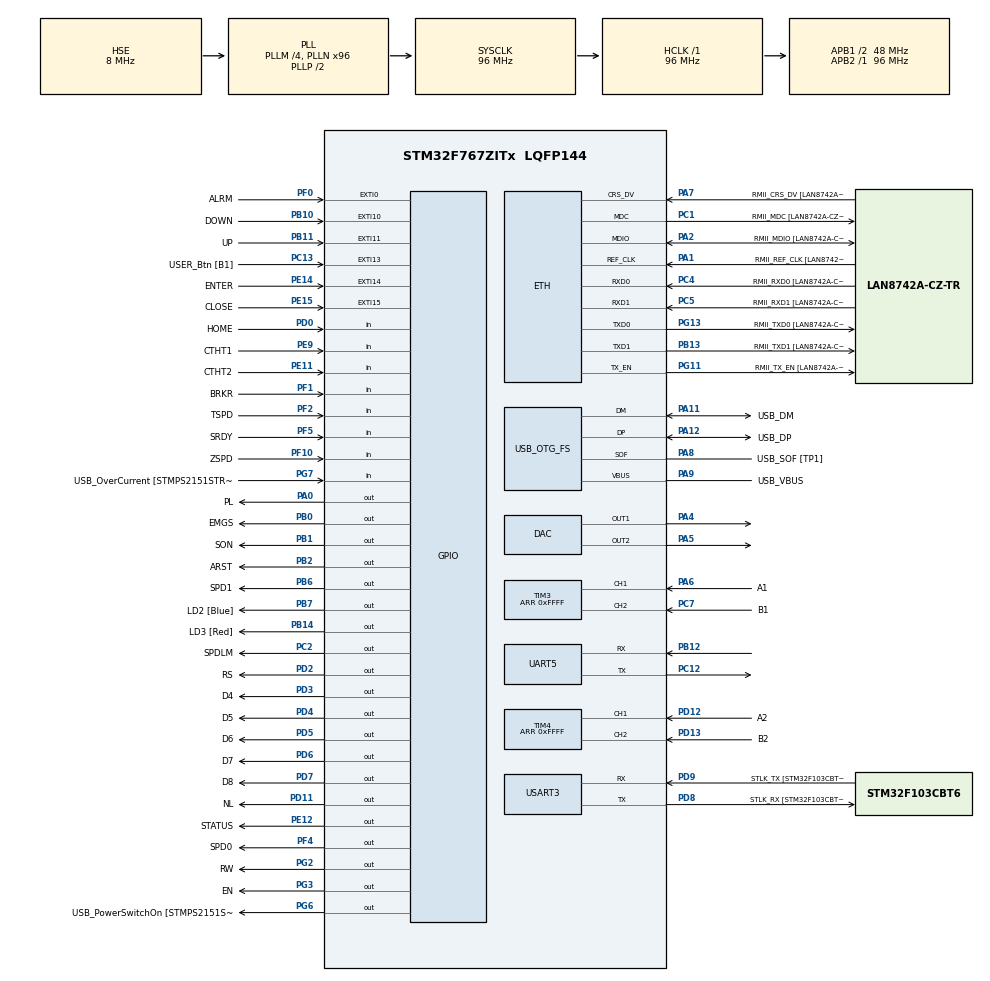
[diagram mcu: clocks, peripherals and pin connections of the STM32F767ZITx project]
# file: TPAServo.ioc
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Dma.Request0=UART5_RX
Dma.Request1=UART5_TX
Dma.UART5_RX.0.Direction=DMA_PERIPH_TO_MEMORY
Dma.UART5_RX.0.FIFOMode=DMA_FIFOMODE_DISABLE
Dma.UART5_RX.0.Instance=DMA1_Stream0
Dma.UART5_RX.0.MemDataAlignment=DMA_MDATAALIGN_BYTE
Dma.UART5_RX.0.MemInc=DMA_MINC_ENABLE
Dma.UART5_RX.0.Mode=DMA_NORMAL
Dma.UART5_RX.0.PeriphDataAlignment=DMA_PDATAALIGN_BYTE
Dma.UART5_RX.0.PeriphInc=DMA_PINC_DISABLE
Dma.UART5_RX.0.Priority=DMA_PRIORITY_HIGH
Dma.UART5_TX.1.Direction=DMA_MEMORY_TO_PERIPH
Dma.UART5_TX.1.FIFOMode=DMA_FIFOMODE_DISABLE
Dma.UART5_TX.1.Instance=DMA1_Stream7
Dma.UART5_TX.1.MemDataAlignment=DMA_MDATAALIGN_BYTE
Dma.UART5_TX.1.MemInc=DMA_MINC_ENABLE
Dma.UART5_TX.1.Mode=DMA_NORMAL
Dma.UART5_TX.1.PeriphDataAlignment=DMA_PDATAALIGN_BYTE
Dma.UART5_TX.1.PeriphInc=DMA_PINC_DISABLE
Dma.UART5_TX.1.Priority=DMA_PRIORITY_HIGH
ETH.MediaInterface=ETH_MEDIA_INTERFACE_RMII
ETH.PHY_Name=LAN8742A_PHY_ADDRESS
ETH.PHY_Value=0
ETH.PhyAddress=0
Mcu.Family=STM32F7
Mcu.Name=STM32F767ZITx
Mcu.Package=LQFP144
NVIC.DMA1_Stream0_IRQn=true\:3\:0\:true\:false\:true\:false\:true
NVIC.DMA1_Stream7_IRQn=true\:3\:0\:true\:false\:true\:false\:true
NVIC.ETH_IRQn=true\:0\:0\:false\:false\:true\:true\:true
NVIC.EXTI0_IRQn=true\:2\:0\:true\:false\:true\:true\:true
NVIC.EXTI15_10_IRQn=true\:2\:0\:true\:false\:true\:true\:true
NVIC.PriorityGroup=NVIC_PRIORITYGROUP_4
NVIC.TIM6_DAC_IRQn=true\:1\:0\:true\:false\:true\:true\:true
NVIC.TIM7_IRQn=true\:4\:0\:true\:false\:true\:true\:true
NVIC.UART5_IRQn=true\:3\:0\:true\:false\:true\:true\:true
PA0/WKUP.GPIO_Label=PL
PA0/WKUP.GPIO_PuPd=GPIO_PULLDOWN
PA0/WKUP.GPIO_Speed=GPIO_SPEED_FREQ_HIGH
PA0/WKUP.Signal=GPIO_Output
PA1.GPIO_Label=RMII_REF_CLK [LAN8742A-CZ-TR_REFCLK0]
PA1.Mode=RMII
PA1.Signal=ETH_REF_CLK
PA10.GPIO_Label=USB_ID
PA10.Signal=USB_OTG_FS_ID
PA11.GPIO_Label=USB_DM
PA11.Mode=Device_Only
PA11.Signal=USB_OTG_FS_DM
PA12.GPIO_Label=USB_DP
PA12.Mode=Device_Only
PA12.Signal=USB_OTG_FS_DP
PA13.GPIO_Label=TMS
PA13.Mode=Serial_Wire
PA13.Signal=SYS_JTMS-SWDIO
PA14.GPIO_Label=TCK
PA14.Mode=Serial_Wire
PA14.Signal=SYS_JTCK-SWCLK
PA2.GPIO_Label=RMII_MDIO [LAN8742A-CZ-TR_MDIO]
PA2.Mode=RMII
PA2.Signal=ETH_MDIO
PA4.Signal=COMP_DAC1_group
PA5.Signal=COMP_DAC2_group
PA6.GPIO_Label=A1
PA6.GPIO_Speed=GPIO_SPEED_FREQ_HIGH
PA6.Signal=S_TIM3_CH1
PA7.GPIO_Label=RMII_CRS_DV [LAN8742A-CZ-TR_CRS_DV]
PA7.Mode=RMII
PA7.Signal=ETH_CRS_DV
PA8.GPIO_Label=USB_SOF [TP1]
PA8.Mode=Activate_SOF_FS
PA8.Signal=USB_OTG_FS_SOF
PA9.GPIO_Label=USB_VBUS
PA9.Mode=Activate_VBUS
PA9.Signal=USB_OTG_FS_VBUS
PB0.GPIO_Label=EMGS
PB0.GPIO_PuPd=GPIO_PULLDOWN
PB0.GPIO_Speed=GPIO_SPEED_FREQ_HIGH
PB0.Signal=GPIO_Output
PB1.GPIO_Label=SON
PB1.GPIO_PuPd=GPIO_PULLDOWN
PB1.GPIO_Speed=GPIO_SPEED_FREQ_HIGH
PB1.Signal=GPIO_Output
PB10.GPIO_Label=DOWN
PB10.GPIO_ModeDefaultEXTI=GPIO_MODE_IT_FALLING
PB10.GPIO_PuPd=GPIO_PULLUP
PB10.Signal=GPXTI10
PB11.GPIO_Label=UP
PB11.GPIO_ModeDefaultEXTI=GPIO_MODE_IT_FALLING
PB11.GPIO_PuPd=GPIO_PULLUP
PB11.Signal=GPXTI11
PB12.Mode=Asynchronous
PB12.Signal=UART5_RX
PB13.GPIO_Label=RMII_TXD1 [LAN8742A-CZ-TR_TXD1]
PB13.Mode=RMII
PB13.Signal=ETH_TXD1
PB14.GPIO_Label=LD3 [Red]
PB14.Signal=GPIO_Output
PB2.GPIO_Label=ARST
PB2.GPIO_PuPd=GPIO_PULLDOWN
PB2.GPIO_Speed=GPIO_SPEED_FREQ_HIGH
PB2.Signal=GPIO_Output
PB3.GPIO_Label=SWO
PB3.Signal=SYS_JTDO-SWO
PB6.GPIO_Label=SPD1
PB6.GPIO_PuPd=GPIO_PULLDOWN
PB6.GPIO_Speed=GPIO_SPEED_FREQ_HIGH
PB6.Signal=GPIO_Output
PB7.GPIO_Label=LD2 [Blue]
PB7.Signal=GPIO_Output
PC1.GPIO_Label=RMII_MDC [LAN8742A-CZ-TR_MDC]
PC1.Mode=RMII
PC1.Signal=ETH_MDC
PC12.Mode=Asynchronous
PC12.Signal=UART5_TX
PC13.GPIO_Label=USER_Btn [B1]
PC13.Signal=GPXTI13
PC14/OSC32_IN.Signal=RCC_OSC32_IN
PC15/OSC32_OUT.Signal=RCC_OSC32_OUT
PC2.GPIO_Label=SPDLM
PC2.GPIO_PuPd=GPIO_PULLDOWN
PC2.GPIO_Speed=GPIO_SPEED_FREQ_HIGH
PC2.Signal=GPIO_Output
PC4.GPIO_Label=RMII_RXD0 [LAN8742A-CZ-TR_RXD0]
PC4.Mode=RMII
PC4.Signal=ETH_RXD0
PC5.GPIO_Label=RMII_RXD1 [LAN8742A-CZ-TR_RXD1]
PC5.Mode=RMII
PC5.Signal=ETH_RXD1
PC7.GPIO_Label=B1
PC7.GPIO_Speed=GPIO_SPEED_FREQ_HIGH
PC7.Signal=S_TIM3_CH2
PD0.GPIO_Label=HOME
PD0.GPIO_PuPd=GPIO_PULLUP
PD0.Signal=GPIO_Input
PD11.GPIO_Label=NL
PD11.GPIO_PuPd=GPIO_PULLDOWN
PD11.GPIO_Speed=GPIO_SPEED_FREQ_HIGH
PD11.Signal=GPIO_Output
PD12.GPIO_Label=A2
PD12.GPIO_PuPd=GPIO_NOPULL
PD12.GPIO_Speed=GPIO_SPEED_FREQ_HIGH
PD12.Signal=S_TIM4_CH1
PD13.GPIO_Label=B2
PD13.GPIO_Speed=GPIO_SPEED_FREQ_HIGH
PD13.Signal=S_TIM4_CH2
PD2.GPIO_Label=RS
PD2.GPIO_PuPd=GPIO_PULLDOWN
PD2.GPIO_Speed=GPIO_SPEED_FREQ_HIGH
PD2.Signal=GPIO_Output
PD3.GPIO_Label=D4
PD3.GPIO_PuPd=GPIO_PULLDOWN
PD3.GPIO_Speed=GPIO_SPEED_FREQ_HIGH
PD3.Signal=GPIO_Output
PD4.GPIO_Label=D5
PD4.GPIO_PuPd=GPIO_PULLDOWN
PD4.GPIO_Speed=GPIO_SPEED_FREQ_HIGH
PD4.Signal=GPIO_Output
PD5.GPIO_Label=D6
PD5.GPIO_PuPd=GPIO_PULLDOWN
PD5.GPIO_Speed=GPIO_SPEED_FREQ_HIGH
PD5.Signal=GPIO_Output
PD6.GPIO_Label=D7
PD6.GPIO_PuPd=GPIO_PULLDOWN
PD6.GPIO_Speed=GPIO_SPEED_FREQ_HIGH
PD6.Signal=GPIO_Output
PD7.GPIO_Label=D8
PD7.GPIO_PuPd=GPIO_PULLDOWN
PD7.GPIO_Speed=GPIO_SPEED_FREQ_HIGH
PD7.Signal=GPIO_Output
PD8.GPIO_Label=STLK_RX [STM32F103CBT6_PA3]
PD8.Mode=Asynchronous
PD8.Signal=USART3_TX
PD9.GPIO_Label=STLK_TX [STM32F103CBT6_PA2]
PD9.Mode=Asynchronous
PD9.Signal=USART3_RX
PE11.GPIO_Label=CTHT2
PE11.GPIO_PuPd=GPIO_PULLUP
PE11.Signal=GPIO_Input
PE12.GPIO_Label=STATUS
PE12.GPIO_PuPd=GPIO_PULLDOWN
PE12.GPIO_Speed=GPIO_SPEED_FREQ_HIGH
PE12.PinState=GPIO_PIN_SET
PE12.Signal=GPIO_Output
PE14.GPIO_Label=ENTER
PE14.GPIO_ModeDefaultEXTI=GPIO_MODE_IT_FALLING
PE14.GPIO_PuPd=GPIO_PULLUP
PE14.Signal=GPXTI14
PE15.GPIO_Label=CLOSE
PE15.GPIO_ModeDefaultEXTI=GPIO_MODE_IT_FALLING
PE15.GPIO_PuPd=GPIO_PULLUP
PE15.Signal=GPXTI15
PE9.GPIO_Label=CTHT1
PE9.GPIO_PuPd=GPIO_PULLUP
PE9.Signal=GPIO_Input
PF0.GPIO_Label=ALRM
PF0.GPIO_ModeDefaultEXTI=GPIO_MODE_IT_FALLING
PF0.GPIO_PuPd=GPIO_PULLUP
PF0.Signal=GPXTI0
PF1.GPIO_Label=BRKR
PF1.GPIO_PuPd=GPIO_PULLUP
PF1.Signal=GPIO_Input
PF10.GPIO_Label=ZSPD
PF10.GPIO_PuPd=GPIO_PULLUP
PF10.Signal=GPIO_Input
PF2.GPIO_Label=TSPD
PF2.GPIO_PuPd=GPIO_PULLUP
PF2.Signal=GPIO_Input
PF4.GPIO_Label=SPD0
PF4.GPIO_PuPd=GPIO_PULLDOWN
PF4.GPIO_Speed=GPIO_SPEED_FREQ_HIGH
PF4.Signal=GPIO_Output
PF5.GPIO_Label=SRDY
PF5.GPIO_PuPd=GPIO_PULLUP
PF5.Signal=GPIO_Input
PG11.GPIO_Label=RMII_TX_EN [LAN8742A-CZ-TR_TXEN]
PG11.Mode=RMII
PG11.Signal=ETH_TX_EN
PG13.GPIO_Label=RMII_TXD0 [LAN8742A-CZ-TR_TXD0]
PG13.Mode=RMII
PG13.Signal=ETH_TXD0
PG2.GPIO_Label=RW
PG2.GPIO_PuPd=GPIO_PULLDOWN
PG2.GPIO_Speed=GPIO_SPEED_FREQ_HIGH
PG2.Signal=GPIO_Output
PG3.GPIO_Label=EN
PG3.GPIO_PuPd=GPIO_PULLDOWN
PG3.GPIO_Speed=GPIO_SPEED_FREQ_HIGH
PG3.Signal=GPIO_Output
PG6.GPIO_Label=USB_PowerSwitchOn [STMPS2151STR_EN]
PG6.Signal=GPIO_Output
PG7.GPIO_Label=USB_OverCurrent [STMPS2151STR_FAULT]
PG7.Signal=GPIO_Input
PH0/OSC_IN.GPIO_Label=MCO [STM32F103CBT6_PA8]
PH0/OSC_IN.Mode=HSE-External-Oscillator
PH0/OSC_IN.Signal=RCC_OSC_IN
PH1/OSC_OUT.Mode=HSE-External-Oscillator
PH1/OSC_OUT.Signal=RCC_OSC_OUT
ProjectManager.HeapSize=0x200
ProjectManager.StackSize=0x400
ProjectManager.TargetToolchain=MDK-ARM V5
RCC.48MHZClocksFreq_Value=24000000
RCC.AHBFreq_Value=96000000
RCC.APB1CLKDivider=RCC_HCLK_DIV2
RCC.APB1Freq_Value=48000000
RCC.APB1TimFreq_Value=96000000
RCC.APB2Freq_Value=96000000
RCC.APB2TimFreq_Value=96000000
RCC.CortexFreq_Value=96000000
RCC.HCLKFreq_Value=96000000
RCC.HSE_VALUE=8000000
RCC.HSI_VALUE=16000000
RCC.LSE_VALUE=32768
RCC.PLLM=4
RCC.PLLMUL=RCC_PLL_MUL9
RCC.PLLN=96
RCC.PLLQ=4
RCC.PRESCALERUSB=RCC_USBCLKSOURCE_PLL_DIV1_5
RCC.SYSCLKFreq_VALUE=96000000
RCC.SYSCLKSource=RCC_SYSCLKSOURCE_PLLCLK
RCC.SYSCLKSourceVirtual=RCC_SYSCLKSOURCE_PLLCLK
RCC.USBFreq_Value=48000000
RCC.VCOOutputFreq_Value=192000000
SH.COMP_DAC1_group.0=DAC_OUT1,DAC_OUT1
SH.COMP_DAC2_group.0=DAC_OUT2,DAC_OUT2
SH.S_TIM3_CH1.0=TIM3_CH1,Encoder_Interface
SH.S_TIM3_CH2.0=TIM3_CH2,Encoder_Interface
SH.S_TIM4_CH1.0=TIM4_CH1,Encoder_Interface
SH.S_TIM4_CH2.0=TIM4_CH2,Encoder_Interface
TIM3.EncoderMode=TIM_ENCODERMODE_TI12
TIM3.Period=0xFFFF
TIM4.EncoderMode=TIM_ENCODERMODE_TI12
TIM4.Period=0xFFFF
TIM6.Period=19
TIM6.Prescaler=47999
TIM7.Period=9999
TIM7.Prescaler=9599
USART3.VirtualMode-Asynchronous=VM_ASYNC
USB_OTG_FS.VirtualMode=Device_Only
VP_TIM6_VS_ClockSourceINT.Mode=Enable_Timer
VP_TIM7_VS_ClockSourceINT.Mode=Enable_Timer
board=NUCLEO-F767ZI

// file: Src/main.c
/* USER CODE BEGIN Header */
/**
  ******************************************************************************
  * @file           : main.c
  * @brief          : Main program body
  ******************************************************************************
  * @attention
  *
  * <h2><center>&copy; Copyright (c) 2020 STMicroelectronics.
  * All rights reserved.</center></h2>
  *
  * This software component is licensed by ST under BSD 3-Clause license,
  * the "License"; You may not use this file except in compliance with the
  * License. You may obtain a copy of the License at:
  *                        opensource.org/licenses/BSD-3-Clause
  *
  ******************************************************************************
  */
/* USER CODE END Header */

#include "main.h"
#include "stdio.h"
#include "lcd_txt.h"

/* USER CODE BEGIN PTD */
typedef struct
{
	uint8_t ready;
	uint8_t brun;
	uint8_t mode;
	char Reset;
}Status;

typedef struct
{
	uint8_t Ts;
	double Kp;
	double Ki;
	double Kd;
}PID_Gain;

typedef struct
{
	double AmMax;
	double AmMin;
	double Period;
	double OffsetTime;
	double bMode;
}pulse;
/* USER CODE END PTD */

/* USER CODE BEGIN PD */
#define RXBUFFERSIZE 60
/* USER CODE END PD */

/* USER CODE BEGIN PM */

double ConvertByte2Double(uint8_t *nbytes)
{
	double *dDouble = (double*)nbytes;
	return *dDouble;
}
int16_t ConverByte2Int16(uint8_t *nbyte)
{
	 int16_t *dInt16 = (int16_t*)nbyte;
	 return *dInt16;
}
int8_t ConverByte2Int8(uint8_t* nbyte)
{
	int8_t *dint8 = (int8_t*)nbyte;
	 return *dint8;
}
/* USER CODE END PM */

DAC_HandleTypeDef hdac;

ETH_HandleTypeDef heth;

TIM_HandleTypeDef htim3;
TIM_HandleTypeDef htim4;
TIM_HandleTypeDef htim6;
TIM_HandleTypeDef htim7;

UART_HandleTypeDef huart5;
UART_HandleTypeDef huart3;
DMA_HandleTypeDef hdma_uart5_rx;
DMA_HandleTypeDef hdma_uart5_tx;

PCD_HandleTypeDef hpcd_USB_OTG_FS;

void SystemClock_Config(void);
static void MX_GPIO_Init(void);
static void MX_DMA_Init(void);
static void MX_DAC_Init(void);
static void MX_ETH_Init(void);
static void MX_TIM3_Init(void);
static void MX_TIM4_Init(void);
static void MX_UART5_Init(void);
static void MX_USART3_UART_Init(void);
static void MX_USB_OTG_FS_PCD_Init(void);
static void MX_TIM6_Init(void);
static void MX_TIM7_Init(void);

/* USER CODE BEGIN 0 */
__IO ITStatus UartReady = RESET;
__IO uint8_t rxUsbBuffer[64]={0};
char txUsbBuffer[64]={0};
char txRs232Buffer[64]={0};
uint8_t len=0 ;
double SetSpeed,SetPosition,Kp1,Ki1,Kd1,Kp2,Ki2,Kd2,Speed,Position,Udk , Udk_P , distance , SetPointcu;
double p = 0, p_pre=0, dp = 0,dpcu=0,dpcu1=0,dpcu2=0,dpcu3=0;
int32_t pp = 0, pp_pre = 0, dpp =0;
double set;
double butpd=2.5,khoangcach=0,viphancu=0;
double error , sum_error = 0, pPart=0, iPart = 0, dPart, pre_error, Ts2, Ts1,OffSetTime;
double err_P, sum_err_P =0, pre_err_P, pPart_P, iPart_P = 0, dPart_P;
unsigned char Down=0, Up=0, Close=0, Enter=0, Alrm=0, Stop=1,Mode=0,Green,Red, COMRun, Run;
uint8_t CTHT1,CTHT2,HOME;
double Udac;
double k1=5,k2=1,J=0.05,alpha=2,theta=0,Speedcu=0,SetPointcu2=0;

int LCD_MODE = 0;
char Buffer[16];
int i=0, itruoc;

int cnttimes , send, ComReset=0,Reset,bReset;
int timeUp;
Status ComStatus;
PID_Gain PID1, PID2;
pulse PulseSpeed;
int LocalControl, ComControl, LCDmode;

int32_t status_f7=0;
uint8_t input_reset=0;
uint8_t input_ctht1=0;
uint8_t input_ctht2=0;
uint8_t input_run=0;
uint8_t input_stop=0;
uint8_t input_mode_speed=0;
uint8_t input_mode_position=0;
uint8_t input_alarm=0;

int screen;
int cursor;
int ok_btn, up_btn, down_btn, back_btn;
int mode_pc_local=0;
int mode_pc_local_temp=0;
int mode_pc_local_irq=0;
extern int8_t PV,SP;
extern int8_t Modee;
extern int8_t Statuss;
extern int8_t Mode_Send;
extern int8_t Status_Send;
extern int8_t Re_set;
extern float Kp_1, Ki_1, Kd_1, Kp_2, Ki_2, Kd_2, Kp_temp, Ki_temp, Kd_temp;
extern int8_t IsPC;
void Reset_servo(void)
{

	    HAL_GPIO_WritePin(SPDLM_GPIO_Port,SPDLM_Pin,GPIO_PIN_SET);
	    HAL_GPIO_WritePin(PL_GPIO_Port,PL_Pin,GPIO_PIN_SET);
		  HAL_GPIO_WritePin(NL_GPIO_Port,NL_Pin,GPIO_PIN_RESET);
			HAL_GPIO_WritePin(SON_GPIO_Port,SON_Pin,GPIO_PIN_SET);
			HAL_DAC_SetValue(&hdac,DAC_CHANNEL_1,DAC_ALIGN_12B_R,(uint32_t)(300));
}
void Encoder(void)
{
	 p  =(double)TIM4->CNT;
	 TIM4->CNT = 10000;
	 dp =  p - 10000;
	khoangcach=khoangcach+dp*0.000242456;
	 dp=dpcu*0.3+dp*0.5+dpcu1*0.2;
	 dpcu1=dpcu;
	 dpcu=dp;
	 Speed=dp*0.07;
}
void SetPointSpeed()
{
	if(mode_pc_local==0)
	{
		cnttimes +=10;

		 if (PulseSpeed.bMode ==1 )
		 {
				SetSpeed = PulseSpeed.AmMax;
		 }

		 if (PulseSpeed.bMode==2 )
		 {
			 if ( 0 <= cnttimes && cnttimes < 1000*PulseSpeed.Period*4.9/10)
			 {
				 SetSpeed = PulseSpeed.AmMax;
			 }
			 if ( 1000*PulseSpeed.Period*4.9/10 <= cnttimes && cnttimes < 1000*PulseSpeed.Period*5/10)
			 {
				 SetSpeed =PulseSpeed.AmMax - ( cnttimes - 1000*PulseSpeed.Period*4.9/10)/ ( 1000*PulseSpeed.Period/100)*(PulseSpeed.AmMax-PulseSpeed.AmMin);
			 }
			 if  ( 1000*PulseSpeed.Period*5/10 <= cnttimes && cnttimes < 1000*PulseSpeed.Period*9.9/10)
			 {
				 SetSpeed = PulseSpeed.AmMin;
			 }
			 if ( 1000*PulseSpeed.Period*9.9/10 <= cnttimes && cnttimes < 1000*PulseSpeed.Period)
			 {
				 SetSpeed = PulseSpeed.AmMin + ( cnttimes - 1000*PulseSpeed.Period*9.9/10)/ ( 1000*PulseSpeed.Period/100)*(PulseSpeed.AmMax-PulseSpeed.AmMin);
			 }
//			 SetSpeed = SetPointcu*0.5 + SetSpeed*0.3 + SetPointcu2*0.2;
//			 SetPointcu = SetSpeed;
//			 SetPointcu2 = SetPointcu;
			 if (cnttimes >= 1000*PulseSpeed.Period ) cnttimes =0;
		 }

		 if (PulseSpeed.bMode == 3)
		 {
			 if ( 0 <= cnttimes && cnttimes < 1000*PulseSpeed.Period*3/8.0)
			 {
				 SetSpeed = PulseSpeed.AmMax;
			 }
			 if (1000*PulseSpeed.Period*3/8.0 <= cnttimes && cnttimes < 1000*PulseSpeed.Period*4/8.0)
			 {
				 //SetSpeed -= (PulseSpeed.AmMax - PulseSpeed.AmMin)/ (1000*PulseSpeed.Period/8)*0.01;
				 SetSpeed = PulseSpeed.AmMax - ( cnttimes - 1000*PulseSpeed.Period*3/8.0 )/ ( 1000*PulseSpeed.Period/8.0)*(PulseSpeed.AmMax-PulseSpeed.AmMin);
			 }
			 if (1000*PulseSpeed.Period*4/8.0 <= cnttimes && cnttimes < 1000*PulseSpeed.Period*7/8.0)
			 {
				 SetSpeed = PulseSpeed.AmMin;
			 }
			 if (1000*PulseSpeed.Period*7/8.0 <= cnttimes && cnttimes < 1000*PulseSpeed.Period*8/8.0)
			 {

				 SetSpeed = PulseSpeed.AmMin + ( cnttimes - 1000*PulseSpeed.Period*7/8.0 )/ ( 1000*PulseSpeed.Period/8.0)*(PulseSpeed.AmMax-PulseSpeed.AmMin);
			 }
			 if (cnttimes >= 1000*PulseSpeed.Period) cnttimes=0;

		 }
	}
}
void acb();
void ReadBuffer(void)
{
	    ComStatus.brun = rxUsbBuffer[0];
			ComStatus.mode = rxUsbBuffer[1];

			//PID1
			PID1.Ts= rxUsbBuffer[2];
			PID2.Ts=rxUsbBuffer[27];

			uint8_t nbytes[8] = {0,0,0,0,0,0,0,0};
			int i;

			for(i=0;i<8;i++) nbytes[i] = rxUsbBuffer[3+i];
			PID1.Kp = ConvertByte2Double(nbytes);

			for(i=0;i<8;i++) nbytes[i] = rxUsbBuffer[11+i];
			PID1.Ki = ConvertByte2Double(nbytes);

			for(i=0;i<8;i++) nbytes[i] = rxUsbBuffer[19+i];
			PID1.Kd = ConvertByte2Double(nbytes);
			//PID2
			for(i=0;i<8;i++) nbytes[i] = rxUsbBuffer[28+i];
			PID2.Kp = ConvertByte2Double(nbytes);

			for(i=0;i<8;i++) nbytes[i] = rxUsbBuffer[36+i];
			PID2.Ki = ConvertByte2Double(nbytes);

			for(i=0;i<8;i++) nbytes[i] = rxUsbBuffer[44+i];
			PID2.Kd = ConvertByte2Double(nbytes);

			for(i=0;i<8;i++) nbytes[i] = rxUsbBuffer[52+i];

			// SetSpeed = ConvertByte2Double(nbytes);
			PulseSpeed.AmMax = (double)ConverByte2Int16(nbytes);
			PulseSpeed.AmMin = (double)ConverByte2Int16(nbytes+2);
			PulseSpeed.Period= (double)ConverByte2Int16(nbytes +4);
			PulseSpeed.bMode = nbytes[6];
			PulseSpeed.OffsetTime = (double)nbytes[7];

			ComStatus.Reset = (char)nbytes[8];

			Kp1 = PID1.Kp;    Ki1 = PID1.Ki;   Kd1 = PID1.Kd;
			Kp2 = PID2.Kp;    Ki2 = PID2.Ki;   Kd2 = PID2.Kd;

			Ts1=(double)PID1.Ts; Ts2=(double)PID2.Ts;
			OffSetTime = 1000*PulseSpeed.OffsetTime ;
			ComReset = ComStatus.Reset;
			//bReset = ComReset;

			if (ComStatus.brun == 1)
			{
				COMRun = 1;
//				LocalControl = 0;
//				ComControl =1;
				//Green = 0 ;

			}
			else
			{
				COMRun = 0 ;
//				ComControl =0;
				//Red = 0;
			}
}

void thuan ()

{
			//Udac = Udk;
			HAL_GPIO_WritePin(SPDLM_GPIO_Port,SPDLM_Pin,GPIO_PIN_RESET);
			HAL_GPIO_WritePin(PL_GPIO_Port,PL_Pin,GPIO_PIN_RESET);
		  HAL_GPIO_WritePin(NL_GPIO_Port,NL_Pin,GPIO_PIN_RESET);
			HAL_GPIO_WritePin(SON_GPIO_Port,SON_Pin,GPIO_PIN_SET);
}
void nguoc()
{
	    HAL_GPIO_WritePin(SPDLM_GPIO_Port,SPDLM_Pin,GPIO_PIN_SET);
	    HAL_GPIO_WritePin(PL_GPIO_Port,PL_Pin,GPIO_PIN_SET);
		  HAL_GPIO_WritePin(NL_GPIO_Port,NL_Pin,GPIO_PIN_RESET);
			HAL_GPIO_WritePin(SON_GPIO_Port,SON_Pin,GPIO_PIN_SET);
}

void MotorStop ()
{
	  HAL_GPIO_WritePin(SON_GPIO_Port,SON_Pin,GPIO_PIN_RESET);
		HAL_DAC_SetValue(&hdac,DAC_CHANNEL_1,DAC_ALIGN_12B_R,(uint32_t)(0));
}
void UartTransmit(void)
{
	len = sprintf((char *)txUsbBuffer,"%ld,%ld,%ld,%i,%i,%i,%i,%i,%ld,%ld\r\n",(long)SetSpeed,(long)Speed,(long)Udk,status_f7,CTHT1,CTHT2,Green,Red,(long)SetPosition,(long)khoangcach);
	//len = sprintf((char *)txUsbBuffer,"%ld,%ld,%ld,%i,%i,%i,%i,%i,%ld,%ld\r\n",(long)SetSpeed,(long)(khoangcach/300.0*15.5),(long)Udk,Run,CTHT1,CTHT2,Green,Red,(long)SetPosition,(long)Position);
	//len = sprintf((char *)txUsbBuffer,"%f,%f,%f,%d,%d,%d,%d,%d\r\n",SetSpeed,Speed,Udk,Run,CTHT1,CTHT2,Green,Red);
	txRs232Buffer[0]='A';
	txRs232Buffer[1]= (char)',';
	for (int i=0;i<=len;i++)
	{
		txRs232Buffer[i+2]= txUsbBuffer[i];
	}

	HAL_UART_Transmit_DMA(&huart5,(uint8_t*)txRs232Buffer,len+2);
}

void Limit(void)
{
			CTHT2 = HAL_GPIO_ReadPin(CTHT2_GPIO_Port,CTHT2_Pin);
			CTHT1 = HAL_GPIO_ReadPin(CTHT1_GPIO_Port,CTHT1_Pin);

			if (CTHT1 == 1 && (ComReset == 1 || Reset == 1) )
			{
				//Position = 0;
				bReset = 0;
				Red = 0;
				HAL_GPIO_WritePin(SON_GPIO_Port,SON_Pin,GPIO_PIN_RESET);
        SetSpeed=0;
				Udac = 0;
				iPart=0;
				dPart=0;
				khoangcach =0;
			}

			if (CTHT1 == 1 && SetSpeed < 0  )
			{
				Run = 0;
				HAL_GPIO_WritePin(SON_GPIO_Port,SON_Pin,GPIO_PIN_RESET);
				Udac = 0;
				iPart=0;
				dPart=0;

			}

			else if (CTHT2 == 1 && SetSpeed > 0 )
			{
				Run = 0;
				HAL_GPIO_WritePin(SON_GPIO_Port,SON_Pin,GPIO_PIN_RESET);
				Udac=0;
				iPart=0;
				dPart=0;
			}

			else
			{
				Run =1;
			}

}
void SetPointPosition()
{
	if(mode_pc_local==0)
	{
		if (PulseSpeed.bMode ==1 )
	 {
			SetPosition= PulseSpeed.AmMax;
	 }

	 if (PulseSpeed.bMode==2 )
	 {
		 if ( 0 <= cnttimes && cnttimes < 1000*PulseSpeed.Period/2)
		 {
			 SetPosition = PulseSpeed.AmMax;
		 }
		 if ( 1000*PulseSpeed.Period / 2 <= cnttimes && cnttimes < 1000*PulseSpeed.Period)
		 {
			 SetPosition = PulseSpeed.AmMin;
		 }
		 cnttimes +=10;
		 if (cnttimes >= 1000*PulseSpeed.Period ) cnttimes =0;
	 }

	 if (PulseSpeed.bMode == 3)
	 {
		 if ( 0 <= cnttimes && cnttimes < 1000*PulseSpeed.Period*3/8.0)
		 {
			 SetPosition = PulseSpeed.AmMax;
		 }
		 if (1000*PulseSpeed.Period*3/8.0 <= cnttimes && cnttimes < 1000*PulseSpeed.Period*4/8.0)
		 {
			 //SetSpeed -= (PulseSpeed.AmMax - PulseSpeed.AmMin)/ (1000*PulseSpeed.Period/8)*0.01;
			 SetPosition = PulseSpeed.AmMax - ( cnttimes - 1000*PulseSpeed.Period*3/8.0 )/ ( 1000*PulseSpeed.Period/8.0)*(PulseSpeed.AmMax-PulseSpeed.AmMin);
		 }
		 if (1000*PulseSpeed.Period*4/8.0 <= cnttimes && cnttimes < 1000*PulseSpeed.Period*7/8.0)
		 {
			 SetPosition = PulseSpeed.AmMin;
		 }
		 if (1000*PulseSpeed.Period*7/8.0 <= cnttimes && cnttimes < 1000*PulseSpeed.Period*8/8.0)
		 {

			 SetPosition = PulseSpeed.AmMin + ( cnttimes - 1000*PulseSpeed.Period*7/8.0 )/ ( 1000*PulseSpeed.Period/8.0)*(PulseSpeed.AmMax-PulseSpeed.AmMin);
		 }

		cnttimes +=10;
		 if (cnttimes >= 1000*PulseSpeed.Period) cnttimes=0;
	 }
	}
}
void PID_Position(void)
{

   error  = SetPosition - khoangcach;
	 pPart_P  = Kp1*error;

	 iPart_P +=  Ki1*error*0.01;

	 dPart_P  = Kd1/0.01*(error - pre_error);

	 pre_error = error;

	Udk    = pPart_P + iPart_P + dPart_P;
	 if (Udk > 4095.0) Udk = 4095.0;
	 if (Udk < -4095.0) Udk = -4095.0;
	 if (Udk>=0)
		{
			Udac = Udk;
			thuan();
		}
		if (Udk <0)
		{
			Udac = -Udk;
			nguoc();
		}
		HAL_DAC_SetValue(&hdac,DAC_CHANNEL_1,DAC_ALIGN_12B_R,(uint32_t)(Udac));
}

void PID_Speed(void)
{

	 //Speed  = (double)dp*0.4861;  //   7* (pulse / (360*4))/0.01 cm/s
   error  = SetSpeed - Speed;

	 pPart  = Kp2*error;

	 iPart +=  Ki2*error*0.01;

//	 if ( iPart > 4095.0)
//		{
//			iPart = 4095;
//		}
//	 if ( iPart < -4095.0)
//		{
//			iPart = -4095;
//		}
	 dPart  = Kd2/0.01*(error - pre_error);
		dPart=viphancu*0.3+dPart*0.7;
		viphancu=dPart;
	 pre_error = error;
	 Udk    = pPart + iPart + dPart;
	 if (Udk > 4095.0) Udk = 4095.0;
	 if (Udk < -4095.0) Udk = -4095.0;
	 if (Udk>=0)
		{
			Udac = Udk;
			thuan();
		}
		if (Udk <0)
		{
			Udac = -Udk;
			nguoc();
		}
		HAL_DAC_SetValue(&hdac,DAC_CHANNEL_1,DAC_ALIGN_12B_R,(uint32_t)(Udac));
}

void HAL_GPIO_EXTI_Callback(uint16_t GPIO_Pin)
{
	if (GPIO_Pin == GPIO_PIN_10)
	{
		if(up_btn==0 && ok_btn==0 && back_btn==0)
		{
			down_btn = 1;
		}
	}

	if(GPIO_Pin == GPIO_PIN_11)
	{
		if(down_btn==0 && ok_btn==0 && back_btn==0)
		{
			up_btn = 1;
		}
	}

	if (GPIO_Pin == GPIO_PIN_14)  // Swtich Enter
	{
		if(down_btn==0 && up_btn==0 && back_btn==0)
		{
			ok_btn = 1;
		}
	}
	if (GPIO_Pin == GPIO_PIN_15)  // Switch Close
	{
		if(down_btn==0 && ok_btn==0 && up_btn==0)
		{
			back_btn = 1;
		}
	}
}
void HAL_TIM_PeriodElapsedCallback(TIM_HandleTypeDef *htim)
{

	if (htim->Instance == htim6.Instance)
	{

		acb();

		if (send <5 ) send++;
		if (send >=5)
		{
		UartTransmit();
		send = 0;
		}
	}

}
void HAL_UART_RxCpltCallback(UART_HandleTypeDef *huart)
{
  /* Set transmission flag: transfer complete */
    UartReady = SET;
  //HAL_GPIO_TogglePin(GPIOD,GPIO_PIN_13);
}
/* USER CODE END 0 */

int main(void)
{

  /* MCU Configuration--------------------------------------------------------*/

  /* Reset of all peripherals, Initializes the Flash interface and the Systick. */
  HAL_Init();

  /* USER CODE BEGIN Init */
//	lcd_init();
//	lcd_puts(0,0,(int8_t*)"Servo: OFF");
//	lcd_puts(1,0,(int8_t*)"Mode: Speed");

  /* USER CODE END Init */

  /* Configure the system clock */
  SystemClock_Config();

  /* USER CODE BEGIN SysInit */
//		lcd_init();
//		lcd_clear();
//		lcd_puts( 1, 0, (int8_t*)"AmMax: ");
//		lcd_puts( 2, 0, (int8_t*)"AmMin: ");
//		lcd_puts( 3, 0, (int8_t*)"Peroid: ");
  /* USER CODE END SysInit */
	ComStatus.brun=2;
	ComStatus.mode=0;
	ComStatus.Reset=0;
  /* Initialize all configured peripherals */
  MX_GPIO_Init();
  MX_DMA_Init();
  MX_DAC_Init();
  MX_ETH_Init();
  MX_TIM3_Init();
  MX_TIM4_Init();
  MX_UART5_Init();
  MX_USART3_UART_Init();
  MX_USB_OTG_FS_PCD_Init();
  MX_TIM6_Init();
  MX_TIM7_Init();
  /* USER CODE BEGIN 2 */
  HAL_GPIO_WritePin(SPD0_GPIO_Port,SPD0_Pin,GPIO_PIN_RESET);
	HAL_GPIO_WritePin(SPD1_GPIO_Port,SPD1_Pin,GPIO_PIN_RESET);
	HAL_UART_Receive_DMA(&huart5,(uint8_t *)rxUsbBuffer,RXBUFFERSIZE);
  HAL_DAC_Start(&hdac,DAC_CHANNEL_1);

	HAL_TIM_Encoder_Start(&htim3,TIM_CHANNEL_1|TIM_CHANNEL_2);
	TIM3->CNT = 10000; TIM4->CNT = 10000;
	HAL_TIM_Encoder_Start(&htim4,TIM_CHANNEL_1|TIM_CHANNEL_2);
	HAL_TIM_Base_Start_IT(&htim6);
	iPart = 0; dPart = 0;
	status_f7=1;

  /* USER CODE END 2 */

  /* Infinite loop */
  /* USER CODE BEGIN WHILE */
		lcd_init();
		lcd_clear();
		int lcd_count = 0;
		screen =1;
  while (1)
  {
    /* USER CODE END WHILE */

    /* USER CODE BEGIN 3 */
		mode_pc_local_temp = mode_pc_local;
		mode_pc_local=HAL_GPIO_ReadPin(STATUS_GPIO_Port,STATUS_Pin);
		if(ComStatus.ready==1)
		{
			ComStatus.ready=0;
			ReadBuffer();
		}
		if(lcd_count++>200){
			lcd_count =0;
			if ( Modee == 1 && screen == 2)
			{
				PV = khoangcach;
				Update_Main();
			}
			else if( Modee == 2 && screen == 2)
			{
				PV = Speed;
				Update_Main();
			}
		}
		if (UartReady == SET && mode_pc_local==0)
		{
			UartReady = RESET;
			ComStatus.ready = 1;
			HAL_UART_Receive_DMA(&huart5, (uint8_t *)rxUsbBuffer, RXBUFFERSIZE);
		}
		if(mode_pc_local == 1 && mode_pc_local_temp == 0)
		{
			Kp_1 = Kp1;
			Ki_1 = Ki1;
			Kd_1 = Kd1;
			Kp_2 = Kp2;
			Ki_2 = Ki2;
			Kd_2 = Kd2;
			IsPC=0;
		}

		switch(screen){
			case 1: PC_Screen();
			break;
			case 2: Main_Screen();
			break;
			case 3: Setting_Screen();
			break;
			case 4: PID_Screen();
			break;
		}
  }
  /* USER CODE END 3 */
}

void SystemClock_Config(void)
{
  RCC_OscInitTypeDef RCC_OscInitStruct = {0};
  RCC_ClkInitTypeDef RCC_ClkInitStruct = {0};
  RCC_PeriphCLKInitTypeDef PeriphClkInitStruct = {0};

  /** Configure the main internal regulator output voltage
  */
  __HAL_RCC_PWR_CLK_ENABLE();
  __HAL_PWR_VOLTAGESCALING_CONFIG(PWR_REGULATOR_VOLTAGE_SCALE3);
  /** Initializes the CPU, AHB and APB busses clocks
  */
  RCC_OscInitStruct.OscillatorType = RCC_OSCILLATORTYPE_HSE;
  RCC_OscInitStruct.HSEState = RCC_HSE_ON;
  RCC_OscInitStruct.PLL.PLLState = RCC_PLL_ON;
  RCC_OscInitStruct.PLL.PLLSource = RCC_PLLSOURCE_HSE;
  RCC_OscInitStruct.PLL.PLLM = 4;
  RCC_OscInitStruct.PLL.PLLN = 96;
  RCC_OscInitStruct.PLL.PLLP = RCC_PLLP_DIV2;
  RCC_OscInitStruct.PLL.PLLQ = 4;
  if (HAL_RCC_OscConfig(&RCC_OscInitStruct) != HAL_OK)
  {
    Error_Handler();
  }
  /** Activate the Over-Drive mode
  */
  if (HAL_PWREx_EnableOverDrive() != HAL_OK)
  {
    Error_Handler();
  }
  /** Initializes the CPU, AHB and APB busses clocks
  */
  RCC_ClkInitStruct.ClockType = RCC_CLOCKTYPE_HCLK|RCC_CLOCKTYPE_SYSCLK
                              |RCC_CLOCKTYPE_PCLK1|RCC_CLOCKTYPE_PCLK2;
  RCC_ClkInitStruct.SYSCLKSource = RCC_SYSCLKSOURCE_PLLCLK;
  RCC_ClkInitStruct.AHBCLKDivider = RCC_SYSCLK_DIV1;
  RCC_ClkInitStruct.APB1CLKDivider = RCC_HCLK_DIV2;
  RCC_ClkInitStruct.APB2CLKDivider = RCC_HCLK_DIV1;

  if (HAL_RCC_ClockConfig(&RCC_ClkInitStruct, FLASH_LATENCY_3) != HAL_OK)
  {
    Error_Handler();
  }
  PeriphClkInitStruct.PeriphClockSelection = RCC_PERIPHCLK_USART3|RCC_PERIPHCLK_UART5
                              |RCC_PERIPHCLK_CLK48;
  PeriphClkInitStruct.Usart3ClockSelection = RCC_USART3CLKSOURCE_PCLK1;
  PeriphClkInitStruct.Uart5ClockSelection = RCC_UART5CLKSOURCE_PCLK1;
  PeriphClkInitStruct.Clk48ClockSelection = RCC_CLK48SOURCE_PLL;
  if (HAL_RCCEx_PeriphCLKConfig(&PeriphClkInitStruct) != HAL_OK)
  {
    Error_Handler();
  }
}

static void MX_DAC_Init(void)
{

  DAC_ChannelConfTypeDef sConfig = {0};

  /** DAC Initialization
  */
  hdac.Instance = DAC;
  if (HAL_DAC_Init(&hdac) != HAL_OK)
  {
    Error_Handler();
  }
  /** DAC channel OUT1 config
  */
  sConfig.DAC_Trigger = DAC_TRIGGER_NONE;
  sConfig.DAC_OutputBuffer = DAC_OUTPUTBUFFER_ENABLE;
  if (HAL_DAC_ConfigChannel(&hdac, &sConfig, DAC_CHANNEL_1) != HAL_OK)
  {
    Error_Handler();
  }
  /** DAC channel OUT2 config
  */
  if (HAL_DAC_ConfigChannel(&hdac, &sConfig, DAC_CHANNEL_2) != HAL_OK)
  {
    Error_Handler();
  }

}

static void MX_ETH_Init(void)
{

   uint8_t MACAddr[6] ;

  heth.Instance = ETH;
  heth.Init.AutoNegotiation = ETH_AUTONEGOTIATION_ENABLE;
  heth.Init.PhyAddress = LAN8742A_PHY_ADDRESS;
  MACAddr[0] = 0x00;
  MACAddr[1] = 0x80;
  MACAddr[2] = 0xE1;
  MACAddr[3] = 0x00;
  MACAddr[4] = 0x00;
  MACAddr[5] = 0x00;
  heth.Init.MACAddr = &MACAddr[0];
  heth.Init.RxMode = ETH_RXPOLLING_MODE;
  heth.Init.ChecksumMode = ETH_CHECKSUM_BY_HARDWARE;
  heth.Init.MediaInterface = ETH_MEDIA_INTERFACE_RMII;

  if (HAL_ETH_Init(&heth) != HAL_OK)
  {
    Error_Handler();
  }

}

static void MX_TIM3_Init(void)
{

  TIM_Encoder_InitTypeDef sConfig = {0};
  TIM_MasterConfigTypeDef sMasterConfig = {0};

  htim3.Instance = TIM3;
  htim3.Init.Prescaler = 0;
  htim3.Init.CounterMode = TIM_COUNTERMODE_UP;
  htim3.Init.Period = 0xFFFF;
  htim3.Init.ClockDivision = TIM_CLOCKDIVISION_DIV1;
  htim3.Init.AutoReloadPreload = TIM_AUTORELOAD_PRELOAD_DISABLE;
  sConfig.EncoderMode = TIM_ENCODERMODE_TI12;
  sConfig.IC1Polarity = TIM_ICPOLARITY_RISING;
  sConfig.IC1Selection = TIM_ICSELECTION_DIRECTTI;
  sConfig.IC1Prescaler = TIM_ICPSC_DIV1;
  sConfig.IC1Filter = 0;
  sConfig.IC2Polarity = TIM_ICPOLARITY_RISING;
  sConfig.IC2Selection = TIM_ICSELECTION_DIRECTTI;
  sConfig.IC2Prescaler = TIM_ICPSC_DIV1;
  sConfig.IC2Filter = 0;
  if (HAL_TIM_Encoder_Init(&htim3, &sConfig) != HAL_OK)
  {
    Error_Handler();
  }
  sMasterConfig.MasterOutputTrigger = TIM_TRGO_RESET;
  sMasterConfig.MasterSlaveMode = TIM_MASTERSLAVEMODE_DISABLE;
  if (HAL_TIMEx_MasterConfigSynchronization(&htim3, &sMasterConfig) != HAL_OK)
  {
    Error_Handler();
  }

}

static void MX_TIM4_Init(void)
{

  TIM_Encoder_InitTypeDef sConfig = {0};
  TIM_MasterConfigTypeDef sMasterConfig = {0};

  htim4.Instance = TIM4;
  htim4.Init.Prescaler = 0;
  htim4.Init.CounterMode = TIM_COUNTERMODE_UP;
  htim4.Init.Period = 0xFFFF;
  htim4.Init.ClockDivision = TIM_CLOCKDIVISION_DIV1;
  htim4.Init.AutoReloadPreload = TIM_AUTORELOAD_PRELOAD_DISABLE;
  sConfig.EncoderMode = TIM_ENCODERMODE_TI12;
  sConfig.IC1Polarity = TIM_ICPOLARITY_RISING;
  sConfig.IC1Selection = TIM_ICSELECTION_DIRECTTI;
  sConfig.IC1Prescaler = TIM_ICPSC_DIV1;
  sConfig.IC1Filter = 0;
  sConfig.IC2Polarity = TIM_ICPOLARITY_RISING;
  sConfig.IC2Selection = TIM_ICSELECTION_DIRECTTI;
  sConfig.IC2Prescaler = TIM_ICPSC_DIV1;
  sConfig.IC2Filter = 0;
  if (HAL_TIM_Encoder_Init(&htim4, &sConfig) != HAL_OK)
  {
    Error_Handler();
  }
  sMasterConfig.MasterOutputTrigger = TIM_TRGO_RESET;
  sMasterConfig.MasterSlaveMode = TIM_MASTERSLAVEMODE_DISABLE;
  if (HAL_TIMEx_MasterConfigSynchronization(&htim4, &sMasterConfig) != HAL_OK)
  {
    Error_Handler();
  }

}

static void MX_TIM6_Init(void)
{

  TIM_MasterConfigTypeDef sMasterConfig = {0};

  htim6.Instance = TIM6;
  htim6.Init.Prescaler = 47999;
  htim6.Init.CounterMode = TIM_COUNTERMODE_UP;
  htim6.Init.Period = 19;
  htim6.Init.AutoReloadPreload = TIM_AUTORELOAD_PRELOAD_DISABLE;
  if (HAL_TIM_Base_Init(&htim6) != HAL_OK)
  {
    Error_Handler();
  }
  sMasterConfig.MasterOutputTrigger = TIM_TRGO_RESET;
  sMasterConfig.MasterSlaveMode = TIM_MASTERSLAVEMODE_DISABLE;
  if (HAL_TIMEx_MasterConfigSynchronization(&htim6, &sMasterConfig) != HAL_OK)
  {
    Error_Handler();
  }

}

static void MX_TIM7_Init(void)
{

  TIM_MasterConfigTypeDef sMasterConfig = {0};

  htim7.Instance = TIM7;
  htim7.Init.Prescaler = 9599;
  htim7.Init.CounterMode = TIM_COUNTERMODE_UP;
  htim7.Init.Period = 9999;
  htim7.Init.AutoReloadPreload = TIM_AUTORELOAD_PRELOAD_DISABLE;
  if (HAL_TIM_Base_Init(&htim7) != HAL_OK)
  {
    Error_Handler();
  }
  sMasterConfig.MasterOutputTrigger = TIM_TRGO_RESET;
  sMasterConfig.MasterSlaveMode = TIM_MASTERSLAVEMODE_DISABLE;
  if (HAL_TIMEx_MasterConfigSynchronization(&htim7, &sMasterConfig) != HAL_OK)
  {
    Error_Handler();
  }

}

static void MX_UART5_Init(void)
{

  huart5.Instance = UART5;
  huart5.Init.BaudRate = 115200;
  huart5.Init.WordLength = UART_WORDLENGTH_8B;
  huart5.Init.StopBits = UART_STOPBITS_1;
  huart5.Init.Parity = UART_PARITY_NONE;
  huart5.Init.Mode = UART_MODE_TX_RX;
  huart5.Init.HwFlowCtl = UART_HWCONTROL_NONE;
  huart5.Init.OverSampling = UART_OVERSAMPLING_16;
  huart5.Init.OneBitSampling = UART_ONE_BIT_SAMPLE_DISABLE;
  huart5.AdvancedInit.AdvFeatureInit = UART_ADVFEATURE_NO_INIT;
  if (HAL_UART_Init(&huart5) != HAL_OK)
  {
    Error_Handler();
  }

}

static void MX_USART3_UART_Init(void)
{

  huart3.Instance = USART3;
  huart3.Init.BaudRate = 115200;
  huart3.Init.WordLength = UART_WORDLENGTH_8B;
  huart3.Init.StopBits = UART_STOPBITS_1;
  huart3.Init.Parity = UART_PARITY_NONE;
  huart3.Init.Mode = UART_MODE_TX_RX;
  huart3.Init.HwFlowCtl = UART_HWCONTROL_NONE;
  huart3.Init.OverSampling = UART_OVERSAMPLING_16;
  huart3.Init.OneBitSampling = UART_ONE_BIT_SAMPLE_DISABLE;
  huart3.AdvancedInit.AdvFeatureInit = UART_ADVFEATURE_NO_INIT;
  if (HAL_UART_Init(&huart3) != HAL_OK)
  {
    Error_Handler();
  }

}

static void MX_USB_OTG_FS_PCD_Init(void)
{

  hpcd_USB_OTG_FS.Instance = USB_OTG_FS;
  hpcd_USB_OTG_FS.Init.dev_endpoints = 6;
  hpcd_USB_OTG_FS.Init.speed = PCD_SPEED_FULL;
  hpcd_USB_OTG_FS.Init.dma_enable = DISABLE;
  hpcd_USB_OTG_FS.Init.phy_itface = PCD_PHY_EMBEDDED;
  hpcd_USB_OTG_FS.Init.Sof_enable = ENABLE;
  hpcd_USB_OTG_FS.Init.low_power_enable = DISABLE;
  hpcd_USB_OTG_FS.Init.lpm_enable = DISABLE;
  hpcd_USB_OTG_FS.Init.vbus_sensing_enable = ENABLE;
  hpcd_USB_OTG_FS.Init.use_dedicated_ep1 = DISABLE;
  if (HAL_PCD_Init(&hpcd_USB_OTG_FS) != HAL_OK)
  {
    Error_Handler();
  }

}

static void MX_DMA_Init(void)
{

  /* DMA controller clock enable */
  __HAL_RCC_DMA1_CLK_ENABLE();

  /* DMA interrupt init */
  /* DMA1_Stream0_IRQn interrupt configuration */
  HAL_NVIC_SetPriority(DMA1_Stream0_IRQn, 3, 0);
  HAL_NVIC_EnableIRQ(DMA1_Stream0_IRQn);
  /* DMA1_Stream7_IRQn interrupt configuration */
  HAL_NVIC_SetPriority(DMA1_Stream7_IRQn, 3, 0);
  HAL_NVIC_EnableIRQ(DMA1_Stream7_IRQn);

}

static void MX_GPIO_Init(void)
{
  GPIO_InitTypeDef GPIO_InitStruct = {0};

  /* GPIO Ports Clock Enable */
  __HAL_RCC_GPIOC_CLK_ENABLE();
  __HAL_RCC_GPIOF_CLK_ENABLE();
  __HAL_RCC_GPIOH_CLK_ENABLE();
  __HAL_RCC_GPIOA_CLK_ENABLE();
  __HAL_RCC_GPIOB_CLK_ENABLE();
  __HAL_RCC_GPIOE_CLK_ENABLE();
  __HAL_RCC_GPIOD_CLK_ENABLE();
  __HAL_RCC_GPIOG_CLK_ENABLE();

  /*Configure GPIO pin Output Level */
  HAL_GPIO_WritePin(SPD0_GPIO_Port, SPD0_Pin, GPIO_PIN_RESET);

  /*Configure GPIO pin Output Level */
  HAL_GPIO_WritePin(SPDLM_GPIO_Port, SPDLM_Pin, GPIO_PIN_RESET);

  /*Configure GPIO pin Output Level */
  HAL_GPIO_WritePin(PL_GPIO_Port, PL_Pin, GPIO_PIN_RESET);

  /*Configure GPIO pin Output Level */
  HAL_GPIO_WritePin(GPIOB, EMGS_Pin|SON_Pin|ARST_Pin|LD3_Pin
                          |SPD1_Pin|LD2_Pin, GPIO_PIN_RESET);

  /*Configure GPIO pin Output Level */
  HAL_GPIO_WritePin(STATUS_GPIO_Port, STATUS_Pin, GPIO_PIN_SET);

  /*Configure GPIO pin Output Level */
  HAL_GPIO_WritePin(GPIOD, NL_Pin|RS_Pin|D4_Pin|D5_Pin
                          |D6_Pin|D7_Pin|D8_Pin, GPIO_PIN_RESET);

  /*Configure GPIO pin Output Level */
  HAL_GPIO_WritePin(GPIOG, RW_Pin|EN_Pin|USB_PowerSwitchOn_Pin, GPIO_PIN_RESET);

  /*Configure GPIO pin : USER_Btn_Pin */
  GPIO_InitStruct.Pin = USER_Btn_Pin;
  GPIO_InitStruct.Mode = GPIO_MODE_IT_RISING;
  GPIO_InitStruct.Pull = GPIO_NOPULL;
  HAL_GPIO_Init(USER_Btn_GPIO_Port, &GPIO_InitStruct);

  /*Configure GPIO pin : ALRM_Pin */
  GPIO_InitStruct.Pin = ALRM_Pin;
  GPIO_InitStruct.Mode = GPIO_MODE_IT_FALLING;
  GPIO_InitStruct.Pull = GPIO_PULLUP;
  HAL_GPIO_Init(ALRM_GPIO_Port, &GPIO_InitStruct);

  /*Configure GPIO pins : BRKR_Pin TSPD_Pin SRDY_Pin ZSPD_Pin */
  GPIO_InitStruct.Pin = BRKR_Pin|TSPD_Pin|SRDY_Pin|ZSPD_Pin;
  GPIO_InitStruct.Mode = GPIO_MODE_INPUT;
  GPIO_InitStruct.Pull = GPIO_PULLUP;
  HAL_GPIO_Init(GPIOF, &GPIO_InitStruct);

  /*Configure GPIO pin : SPD0_Pin */
  GPIO_InitStruct.Pin = SPD0_Pin;
  GPIO_InitStruct.Mode = GPIO_MODE_OUTPUT_PP;
  GPIO_InitStruct.Pull = GPIO_PULLDOWN;
  GPIO_InitStruct.Speed = GPIO_SPEED_FREQ_HIGH;
  HAL_GPIO_Init(SPD0_GPIO_Port, &GPIO_InitStruct);

  /*Configure GPIO pin : SPDLM_Pin */
  GPIO_InitStruct.Pin = SPDLM_Pin;
  GPIO_InitStruct.Mode = GPIO_MODE_OUTPUT_PP;
  GPIO_InitStruct.Pull = GPIO_PULLDOWN;
  GPIO_InitStruct.Speed = GPIO_SPEED_FREQ_HIGH;
  HAL_GPIO_Init(SPDLM_GPIO_Port, &GPIO_InitStruct);

  /*Configure GPIO pin : PL_Pin */
  GPIO_InitStruct.Pin = PL_Pin;
  GPIO_InitStruct.Mode = GPIO_MODE_OUTPUT_PP;
  GPIO_InitStruct.Pull = GPIO_PULLDOWN;
  GPIO_InitStruct.Speed = GPIO_SPEED_FREQ_HIGH;
  HAL_GPIO_Init(PL_GPIO_Port, &GPIO_InitStruct);

  /*Configure GPIO pins : EMGS_Pin SON_Pin ARST_Pin SPD1_Pin */
  GPIO_InitStruct.Pin = EMGS_Pin|SON_Pin|ARST_Pin|SPD1_Pin;
  GPIO_InitStruct.Mode = GPIO_MODE_OUTPUT_PP;
  GPIO_InitStruct.Pull = GPIO_PULLDOWN;
  GPIO_InitStruct.Speed = GPIO_SPEED_FREQ_HIGH;
  HAL_GPIO_Init(GPIOB, &GPIO_InitStruct);

  /*Configure GPIO pins : CTHT1_Pin CTHT2_Pin */
  GPIO_InitStruct.Pin = CTHT1_Pin|CTHT2_Pin;
  GPIO_InitStruct.Mode = GPIO_MODE_INPUT;
  GPIO_InitStruct.Pull = GPIO_PULLUP;
  HAL_GPIO_Init(GPIOE, &GPIO_InitStruct);

  /*Configure GPIO pin : STATUS_Pin */
  GPIO_InitStruct.Pin = STATUS_Pin;
  GPIO_InitStruct.Mode = GPIO_MODE_INPUT;
  GPIO_InitStruct.Pull = GPIO_PULLDOWN;
  GPIO_InitStruct.Speed = GPIO_SPEED_FREQ_HIGH;
  HAL_GPIO_Init(STATUS_GPIO_Port, &GPIO_InitStruct);

  /*Configure GPIO pins : ENTER_Pin CLOSE_Pin */
  GPIO_InitStruct.Pin = ENTER_Pin|CLOSE_Pin;
  GPIO_InitStruct.Mode = GPIO_MODE_IT_FALLING;
  GPIO_InitStruct.Pull = GPIO_PULLUP;
  HAL_GPIO_Init(GPIOE, &GPIO_InitStruct);

  /*Configure GPIO pins : DOWN_Pin UP_Pin */
  GPIO_InitStruct.Pin = DOWN_Pin|UP_Pin;
  GPIO_InitStruct.Mode = GPIO_MODE_IT_FALLING;
  GPIO_InitStruct.Pull = GPIO_PULLUP;
  HAL_GPIO_Init(GPIOB, &GPIO_InitStruct);

  /*Configure GPIO pins : LD3_Pin LD2_Pin */
  GPIO_InitStruct.Pin = LD3_Pin|LD2_Pin;
  GPIO_InitStruct.Mode = GPIO_MODE_OUTPUT_PP;
  GPIO_InitStruct.Pull = GPIO_NOPULL;
  GPIO_InitStruct.Speed = GPIO_SPEED_FREQ_LOW;
  HAL_GPIO_Init(GPIOB, &GPIO_InitStruct);

  /*Configure GPIO pins : NL_Pin RS_Pin D4_Pin D5_Pin
                           D6_Pin D7_Pin D8_Pin */
  GPIO_InitStruct.Pin = NL_Pin|RS_Pin|D4_Pin|D5_Pin
                          |D6_Pin|D7_Pin|D8_Pin;
  GPIO_InitStruct.Mode = GPIO_MODE_OUTPUT_PP;
  GPIO_InitStruct.Pull = GPIO_PULLUP;
  GPIO_InitStruct.Speed = GPIO_SPEED_FREQ_HIGH;
  HAL_GPIO_Init(GPIOD, &GPIO_InitStruct);

  /*Configure GPIO pins : RW_Pin EN_Pin */
  GPIO_InitStruct.Pin = RW_Pin|EN_Pin;
  GPIO_InitStruct.Mode = GPIO_MODE_OUTPUT_PP;
  GPIO_InitStruct.Pull = GPIO_PULLUP;
  GPIO_InitStruct.Speed = GPIO_SPEED_FREQ_HIGH;
  HAL_GPIO_Init(GPIOG, &GPIO_InitStruct);

  /*Configure GPIO pin : USB_PowerSwitchOn_Pin */
  GPIO_InitStruct.Pin = USB_PowerSwitchOn_Pin;
  GPIO_InitStruct.Mode = GPIO_MODE_OUTPUT_PP;
  GPIO_InitStruct.Pull = GPIO_NOPULL;
  GPIO_InitStruct.Speed = GPIO_SPEED_FREQ_LOW;
  HAL_GPIO_Init(USB_PowerSwitchOn_GPIO_Port, &GPIO_InitStruct);

  /*Configure GPIO pin : USB_OverCurrent_Pin */
  GPIO_InitStruct.Pin = USB_OverCurrent_Pin;
  GPIO_InitStruct.Mode = GPIO_MODE_INPUT;
  GPIO_InitStruct.Pull = GPIO_NOPULL;
  HAL_GPIO_Init(USB_OverCurrent_GPIO_Port, &GPIO_InitStruct);

  /*Configure GPIO pin : HOME_Pin */
  GPIO_InitStruct.Pin = HOME_Pin;
  GPIO_InitStruct.Mode = GPIO_MODE_INPUT;
  GPIO_InitStruct.Pull = GPIO_PULLUP;
  HAL_GPIO_Init(HOME_GPIO_Port, &GPIO_InitStruct);

  /* EXTI interrupt init*/
  HAL_NVIC_SetPriority(EXTI0_IRQn, 2, 0);
  HAL_NVIC_EnableIRQ(EXTI0_IRQn);

  HAL_NVIC_SetPriority(EXTI15_10_IRQn, 2, 0);
  HAL_NVIC_EnableIRQ(EXTI15_10_IRQn);

}

/* USER CODE BEGIN 4 */
void acb()
{
	__disable_irq();
	//Update input
	if(mode_pc_local==0)
	{
		if(mode_pc_local_irq==1)
		{
			screen = 1;
			IsPC = 1;
			status_f7=1;
			input_stop=0;
			input_run=0;
			input_mode_speed=0;
			input_mode_position=0;
		}
		else
		{
			input_reset = ComStatus.Reset;
	CTHT1= HAL_GPIO_ReadPin(CTHT1_GPIO_Port,CTHT1_Pin);
	input_ctht1 = CTHT1;
	CTHT2= HAL_GPIO_ReadPin(CTHT2_GPIO_Port,CTHT2_Pin);
	input_ctht2 = CTHT2;
	if(ComStatus.brun==2)
	{
		input_run = 0;
		input_stop = 0;
	}
	if(ComStatus.brun==1)
	{
		input_run = 1;
	}
	if(ComStatus.brun==0)
	{
		input_stop = 1;
	}
	if (ComStatus.mode)
	{
		input_mode_speed = 1;
		input_mode_position=0;
	}
	else
	{
		input_mode_speed = 0;
		input_mode_position=1;
	}
	 input_alarm = 0;
	ComStatus.Reset=0;
	ComStatus.brun=2;
		}
	mode_pc_local_irq=0;
	}
	if(mode_pc_local==1)
	{
		if(mode_pc_local_irq==0)
		{
			status_f7=1;
			input_stop=0;
			input_run=0;
			input_mode_speed=0;
			input_mode_position=0;
			Modee=1;
			Statuss=2;
		}
		else
		{
			input_reset=Re_set;
		CTHT1= HAL_GPIO_ReadPin(CTHT1_GPIO_Port,CTHT1_Pin);
		input_ctht1 = CTHT1;
		CTHT2= HAL_GPIO_ReadPin(CTHT2_GPIO_Port,CTHT2_Pin);
		input_ctht2 = CTHT2;
		if(Status_Send==20)
		{
			input_stop=0;input_run=0;
		}
		if(Status_Send==0) input_stop=1;
		if(Status_Send==1) input_run=1;
		if(Modee==2)
		{
			input_mode_position=0;
			input_mode_speed=1;
		}
		if(Modee==1)
		{
			input_mode_position=1;
			input_mode_speed=0;
		}
		input_alarm = 0;
		Status_Send=20;
		Re_set=0;
		}
		mode_pc_local_irq=1;
	}
	__enable_irq();
	if(status_f7==1)  //Init
	{
		Statuss = 2;
		iPart=0;iPart_P=0;
		if(input_alarm==1) status_f7=6;
		if(input_alarm==0&&input_reset==1) status_f7=2;
	}
	else if(status_f7==2)  //RESET
	{
		//Dieu khien dong co RWD
		Statuss = Stopp;
		iPart=0;iPart_P=0;
		 nguoc();
		 HAL_DAC_SetValue(&hdac,DAC_CHANNEL_1,DAC_ALIGN_12B_R,(uint32_t)(700));
		//input_reset=0;
		if(input_alarm==1) status_f7=6;
		if(input_alarm==0&&input_ctht1==1)
		{
			for(int i=0;i<99;i++) for(int j=0;j<99999;j++);
			//Reset khoang cach ve 0
			khoangcach=0;
			TIM4->CNT = 10000;
			status_f7=3;
		}
	}
	else if(status_f7==3) //IDLE
	{
		//Cap nhat gia tri khoang cach, toc do
		Encoder();
		//Stop
		MotorStop();
		iPart=0;iPart_P=0;
		Statuss = Stopp;
		//input_stop=0;
		if(input_alarm==1) status_f7=6;
		if(input_alarm==0&&input_reset==1) status_f7=2;
		if(input_alarm==0&&input_reset==0&&input_run==1&&input_stop==0) status_f7=4;
	}
	else if(status_f7==4) //Control
	{
		//Cap nhat gia tri khoang cach, toc do
		Encoder();
		Statuss = Runn;
		//input_run=0;
		if(input_alarm==1) status_f7=6;
		if(input_alarm==0&&input_reset==1) status_f7=2;
		if(input_alarm==0&&input_reset==0&&input_stop==1) status_f7=3;
		if(input_alarm==0&&input_reset==0&&input_stop==0&&input_mode_speed==1)
		{
			status_f7=41;
			iPart=0;
		}
		if(input_alarm==0&&input_reset==0&&input_stop==0&&input_mode_position==1)
		{
			status_f7=42;
			iPart_P=0;
		}
	}
	else if(status_f7==41) //Control Speed
	{
		//Cap nhat gia tri khoang cach, toc do
		Encoder();
		Statuss=Runn;
		//Dieu khien toc do
		SetPointSpeed();
		PID_Speed();
		//input_mode_speed=0;
		if(input_alarm==1) status_f7=6;
		if(input_alarm==0&&input_reset==1) status_f7=2;
		if(input_alarm==0&&input_reset==0&&input_stop==1) status_f7=3;
		if(input_alarm==0&&input_reset==0&&input_stop==0)
		{
			if(input_ctht1==1&&SetSpeed<0) status_f7=5;
			if(input_ctht2==1&&SetSpeed>0) status_f7=5;
		}
		if(input_alarm==0&&input_reset==0&&input_stop==0&&input_mode_position==1&&input_mode_speed==0)
		{
			status_f7=42;
			iPart_P=0;
		}
	}
	else if(status_f7==42) //Control Position
	{
		//Cap nhat gia tri khoang cach, toc do
		Encoder();
		Statuss=Runn;
		//Dieu khien vi tri
		SetPointPosition();
		PID_Position();
		//input_mode_position=0;
		if(input_alarm==1) status_f7=6;
		if(input_alarm==0&&input_reset==1) status_f7=2;
		if(input_alarm==0&&input_reset==0&&input_stop==1) status_f7=3;
		if(input_alarm==0&&input_reset==0&&input_stop==0&&input_mode_speed==1&&input_mode_position==0)
		{
			status_f7=41;
			iPart=0;
		}
	}
	else if(status_f7==5) //Pause, Limit
	{
		//Cap nhat gia tri khoang cach, toc do
		Encoder();
		//Stop
		Statuss=Stopp;
		MotorStop();
		SetPointSpeed();
		iPart=0;iPart_P=0;
		if(input_alarm==1) status_f7=6;
		if(input_alarm==0&&input_reset==1) status_f7=2;
		if(input_alarm==0&&input_reset==0&&input_stop==1) status_f7=3;
		if(input_alarm==0&&input_reset==0&&input_stop==0&&input_mode_position==1) status_f7=42;
		if(input_alarm==0&&input_reset==0&&input_stop==0&&input_mode_speed==1)
		{
			if(input_ctht1 == 1 && SetSpeed < 0) status_f7=5;
			else if (input_ctht2 == 1 && SetSpeed > 0 ) status_f7=5;
			else status_f7=41;
		}
	}
	else if(status_f7==6)  //Drive Error
	{
		//Stop
		MotorStop();
		Statuss=Stopp;
		if(input_alarm==0) status_f7=1;
	}
}
/* USER CODE END 4 */

void Error_Handler(void)
{
}

/************************ (C) COPYRIGHT STMicroelectronics *****END OF FILE****/
